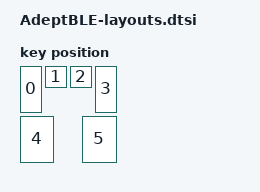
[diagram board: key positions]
/ {
    chosen {
        zmk,physical-layout = &physical_layout0;
        // Other chosen items
    };
        physical_layout0: physical_layout_0 {
        compatible = "zmk,physical-layout";
        display-name = "Default Layout";

        transform = <&default_transform>;
        kscan = <&kscan0>;

        keys  //                     w   h    x    y     rot    rx    ry
            = <&key_physical_attrs  50 100    0    0       0     0     0>
            , <&key_physical_attrs  50  50   50    0       0     0     0>
            , <&key_physical_attrs  50  50  100    0       0     0     0>
            , <&key_physical_attrs  50 100  150    0       0     0     0>
            , <&key_physical_attrs  75 100    0  100       0     0     0>
            , <&key_physical_attrs  75 100  125  100       0     0     0>
            ;
    };

    position_map {
        compatible = "zmk,physical-layout-position-map";

        complete;

        layout1: layout1 {
            physical-layout = <&physical_layout0>;
            positions
                = < 0  1  2  3>
                , < 4        5>
                ;
        };
    };
};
